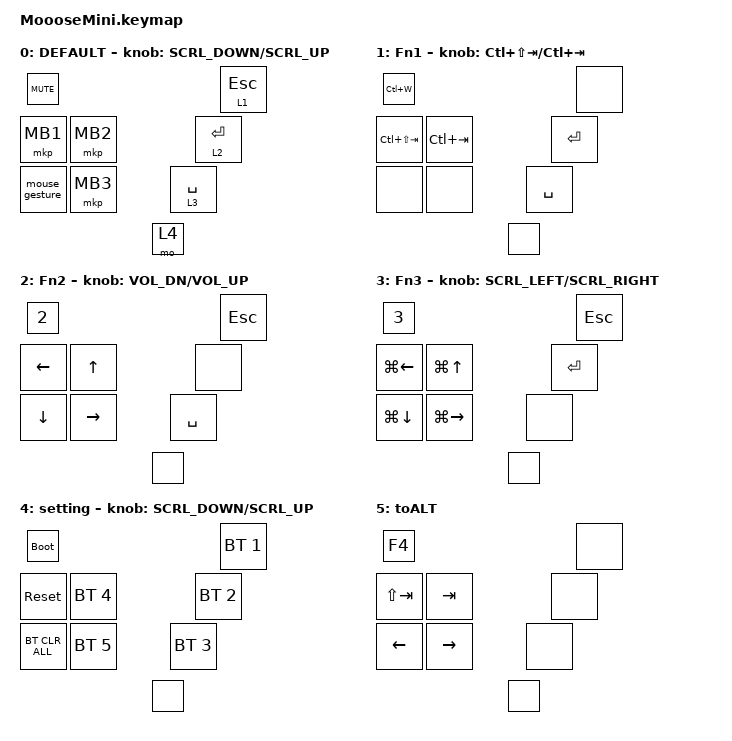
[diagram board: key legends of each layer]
#include <zephyr/dt-bindings/input/input-event-codes.h>
#include <dt-bindings/zmk/mouse.h>
#include <dt-bindings/zmk/input_transform.h>
#include <input/processors.dtsi>
#include <behaviors/rgbled_widget.dtsi>
#include <mouse-gesture.dtsi>
#include <scroll-snap.dtsi>
#include <behaviors.dtsi>
#include <dt-bindings/zmk/bt.h>
#include <dt-bindings/zmk/keys.h>
#include <dt-bindings/zmk/pointing.h>

#undef ZMK_POINTING_DEFAULT_SCRL_VAL

#define ZMK_POINTING_DEFAULT_SCRL_VAL 50  // スクロール量を10→100に変更

&mt {
    flavor = "balanced";
    quick-tap-ms = <0>;
};

&trackball {
    cpi = <600>;
    swap-xy;
};

&trackball_listener {
    // mouse-gesture

    input-processors = <
        &zip_mouse_gesture
    >;

    // snipe

    sniper {
        layers = <1>;
        input-processors = <
          &zip_xy_scaler 1 3
        >;

        process-next;
    };

    // scroll-snap

    scroller {
        layers = <2>;
        input-processors = <
          &zip_xy_scaler 1 24
          &zip_xy_transform (INPUT_TRANSFORM_Y_INVERT)
          &zip_xy_to_scroll_mapper
          &zip_scroll_snap
        >;

        process-next;
    };
};

// mouse-gesture

&zip_mouse_gesture {
    stroke-size = <100>; // Optional (default: 200)
    enable-eager-mode; // Optional, but recommended
    left {
        pattern = <GESTURE_LEFT>;
        bindings = <&kp LEFT_ARROW>;
    };

    right {
        pattern = <GESTURE_RIGHT>;
        bindings = <&kp RIGHT_ARROW>;
    };

    up {
        pattern = <GESTURE_UP>;
        bindings = <&kp UP_ARROW>;
    };

    down {
        pattern = <GESTURE_DOWN>;
        bindings = <&kp DOWN_ARROW>;
    };
};

/ {
    // zmk-listeners

    layer_listeners {
        compatible = "zmk,layer-listeners";

        release_alt {
            layers = <3>;
            bindings = <&kt_on LEFT_ALT &kt_off LEFT_ALT>;
        };
    };

    macros {
        to_layer_0: to_layer_0 {
            compatible = "zmk,behavior-macro-one-param";
            #binding-cells = <1>;
            bindings = <&to 0 &macro_param_1to1 &kp MACRO_PLACEHOLDER>;
            label = "TO_LAYER_0";
        };

        // zmk-listeners

        to_kp: to_kp {
            compatible = "zmk,behavior-macro-two-param";
            #binding-cells = <2>;
            bindings = <&macro_param_1to1 &to MACRO_PLACEHOLDER &macro_param_2to1 &kp MACRO_PLACEHOLDER>;
            label = "to_kp";
        };

        // zmk-listeners

        mo_to_0: mo_to_0 {
            compatible = "zmk,behavior-macro-one-param";
            wait-ms = <0>;
            tap-ms = <0>;
            #binding-cells = <1>;
            bindings =
                <&macro_press>,
                <&macro_param_1to1 &mo MACRO_PLACEHOLDER>,
                <&macro_tap>,
                <&macro_pause_for_release>,
                <&macro_release>,
                <&macro_param_1to1 &mo MACRO_PLACEHOLDER>,
                <&macro_tap>,
                <&to 0>;

            label = "MO_to_0";
        };

        gesture: gesture {
            compatible = "zmk,behavior-macro";
            #binding-cells = <0>;
            bindings = <&macro_tap>, <&mouse_gesture>;

            label = "GESTURE";
        };
    };

    behaviors {
        // Layout shift

        original_key_press: original_key_press {
            compatible = "zmk,behavior-key-press";
            #binding-cells = <1>;
            label = "KEY_PRESS";
        };

        // Layout shift

        kp: key_press {
            compatible = "zmk,behavior-layout-shift-key-press";
            #binding-cells = <1>;
            label = "LAYOUT_SHIFT_KEY_PRESS";
        };

        // zmk-listeners

        kt_on: key_toggle_on_only {
            compatible = "zmk,behavior-key-toggle";
            #binding-cells = <1>;
            display-name = "Key Toggle On";
            toggle-mode = "on";
        };

        // zmk-listeners

        kt_off: key_toggle_off_only {
            compatible = "zmk,behavior-key-toggle";
            #binding-cells = <1>;
            display-name = "Key Toggle Off";
            toggle-mode = "off";
        };

        // zmk-listeners

        lt_to_0: lt_to_0 {
            compatible = "zmk,behavior-hold-tap";
            label = "LT_to_0";
            bindings = <&mo_to_0>, <&kp>;

            #binding-cells = <2>;
            tapping-term-ms = <200>;
            quick-tap-ms = <200>;
            flavor = "balanced";
        };

        lt_to_layer_0: lt_to_layer_0 {
            compatible = "zmk,behavior-hold-tap";
            label = "LAYER_TAP_TO_0";
            bindings = <&mo>, <&to_layer_0>;

            #binding-cells = <2>;
            tapping-term-ms = <200>;
        };

        rot_kp: sensor_rotate_kp {
            compatible = "zmk,behavior-sensor-rotate-var";
            #sensor-binding-cells = <2>;
            bindings = <&kp>, <&kp>;
        };

        rot_mkp: sensor_rotate_mkp {
            compatible = "zmk,behavior-sensor-rotate-var";
            #sensor-binding-cells = <2>;
            bindings = <&mkp>, <&mkp>;
        };

        mouse_scroll: mouse_wheel_scrl {
            compatible = "zmk,behavior-sensor-rotate-var";
            #sensor-binding-cells = <2>;
            bindings = <&msc>, <&msc>;

            tap-ms = <20>;
        };
    };

    combos {
        compatible = "zmk,combos";

        mo5 {
            bindings = <&mo 5>;
            key-positions = <4 1>;
            layers = <0>;
        };
    };

    keymap {
        compatible = "zmk,keymap";

        DEFAULT {
            bindings = <
&kp C_MUTE                &lt_to_layer_0 1 ESC
&mkp MB1        &mkp MB2  &lt_to_layer_0 2 ENTER
&mouse_gesture  &mkp MB3  &lt_to_layer_0 3 SPACE
                          &mo 4
            >;

            sensor-bindings = <&mouse_scroll SCRL_DOWN SCRL_UP>;
        };

        Fn1 {
            bindings = <
&kp LC(W)                     &none
&kp LC(LS(TAB))  &kp LC(TAB)  &kp ENTER
&none            &none        &kp SPACE
                              &none
            >;

            sensor-bindings = <&inc_dec_kp LC(LS(TAB)) LC(TAB)>;
        };

        Fn2 {
            bindings = <
&kp 2                &kp ESC
&kp LEFT  &kp UP     &none
&kp DOWN  &kp RIGHT  &kp SPACE
                     &none
            >;

            sensor-bindings = <&inc_dec_kp C_VOL_DN C_VOL_UP>;
        };

        Fn3 {
            bindings = <
&kp 3                        &kp ESC
&kp LG(LEFT)  &kp LG(UP)     &kp ENTER
&kp LG(DOWN)  &kp LG(RIGHT)  &none
                             &none
            >;

            sensor-bindings = <&mouse_scroll SCRL_LEFT SCRL_RIGHT>;
        };

        setting {
            bindings = <
&bootloader                   &bt BT_SEL 1
&sys_reset      &bt BT_SEL 4  &bt BT_SEL 2
&bt BT_CLR_ALL  &bt BT_SEL 5  &bt BT_SEL 3
                              &none
            >;

            sensor-bindings = <&mouse_scroll SCRL_DOWN SCRL_UP>;
        };

        toALT {
            bindings = <
&kp F4                           &none
&kp LS(TAB)     &kp TAB          &none
&kp LEFT_ARROW  &kp RIGHT_ARROW  &none
                                 &none
            >;
        };
    };
};
